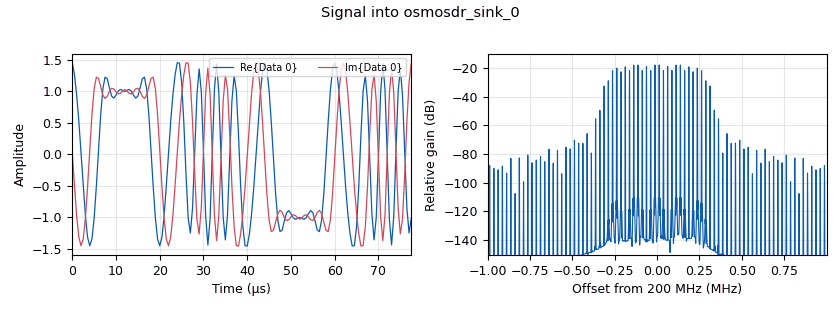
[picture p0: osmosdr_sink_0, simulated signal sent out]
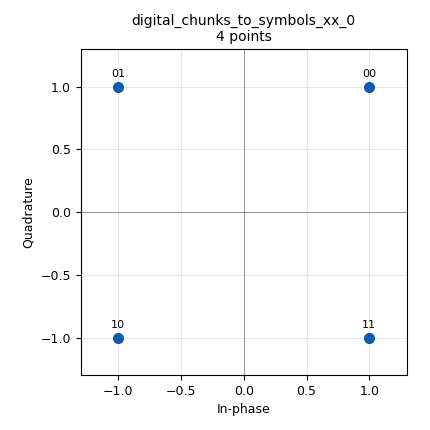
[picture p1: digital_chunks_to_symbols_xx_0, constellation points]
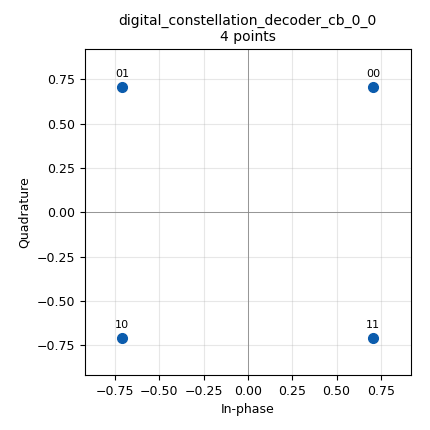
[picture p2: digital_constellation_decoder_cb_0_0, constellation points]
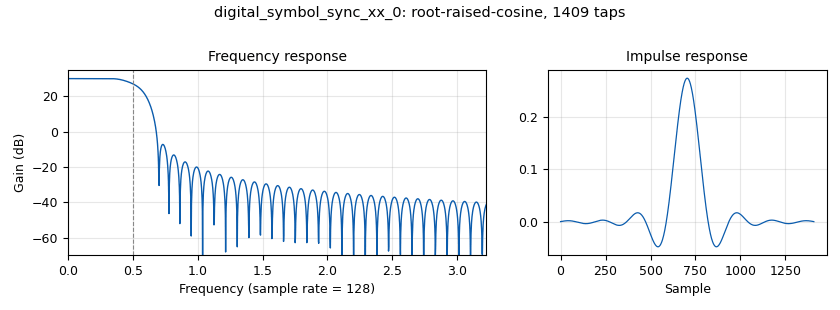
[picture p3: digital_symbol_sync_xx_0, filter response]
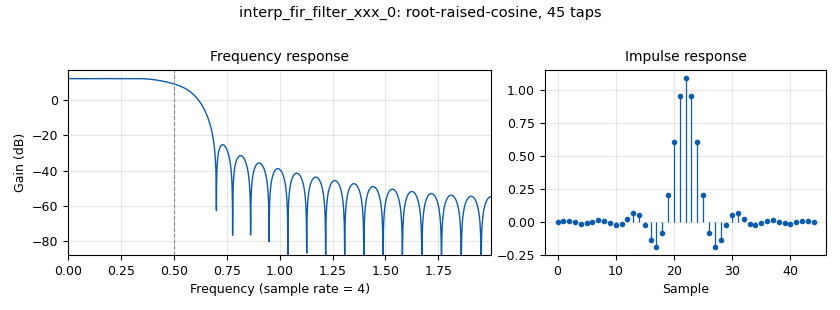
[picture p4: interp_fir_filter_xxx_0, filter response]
<?xml version='1.0' encoding='utf-8'?>
<?grc format='1' created='3.7.13'?>
<flow_graph>
<block>
<key>options</key>
<param><key>id</key><value>psk_hardware</value></param>
<param><key>generate_options</key><value>qt_gui</value></param>
</block>
<block>
<key>variable</key>
<param><key>id</key><value>carrier_freq</value></param>
<param><key>value</key><value>200e6</value></param>
</block>
<block>
<key>variable_qtgui_range</key>
<param><key>id</key><value>damping</value></param>
<param><key>value</key><value>1</value></param>
<param><key>gui_hint</key><value>5,2,1,1</value></param>
<param><key>orient</key><value>Qt.Horizontal</value></param>
<param><key>start</key><value>0</value></param>
<param><key>step</key><value>0.01</value></param>
<param><key>stop</key><value>2</value></param>
</block>
<block>
<key>variable</key>
<param><key>id</key><value>excess_bw</value></param>
<param><key>value</key><value>0.35</value></param>
</block>
<block>
<key>variable_qtgui_range</key>
<param><key>id</key><value>freq_bw</value></param>
<param><key>value</key><value>0.025</value></param>
<param><key>gui_hint</key><value>1,2,1,1</value></param>
<param><key>orient</key><value>Qt.Horizontal</value></param>
<param><key>start</key><value>0</value></param>
<param><key>step</key><value>0.001</value></param>
<param><key>stop</key><value>0.05</value></param>
</block>
<block>
<key>variable_qtgui_range</key>
<param><key>id</key><value>maximum_deviation</value></param>
<param><key>value</key><value>1.5</value></param>
<param><key>gui_hint</key><value>6,2,1,1</value></param>
<param><key>orient</key><value>Qt.Horizontal</value></param>
<param><key>start</key><value>0</value></param>
<param><key>step</key><value>0.01</value></param>
<param><key>stop</key><value>3</value></param>
</block>
<block>
<key>variable</key>
<param><key>id</key><value>nfilts</value></param>
<param><key>value</key><value>32</value></param>
</block>
<block>
<key>variable_qtgui_range</key>
<param><key>id</key><value>phase_bw</value></param>
<param><key>value</key><value>0.05</value></param>
<param><key>gui_hint</key><value>3,2,1,1</value></param>
<param><key>orient</key><value>Qt.Horizontal</value></param>
<param><key>start</key><value>0</value></param>
<param><key>step</key><value>0.001</value></param>
<param><key>stop</key><value>0.1</value></param>
</block>
<block>
<key>variable_constellation</key>
<param><key>id</key><value>qpsk_constellation</value></param>
<param><key>const_points</key><value>symbol_map</value></param>
<param><key>type</key><value>calcdist</value></param>
<param><key>dims</key><value>1</value></param>
<param><key>rot_sym</key><value>4</value></param>
<param><key>precision</key><value>8</value></param>
<param><key>sym_map</key><value>[0, 1, 2, 3]</value></param>
</block>
<block>
<key>variable_rrc_filter_taps</key>
<param><key>id</key><value>rrc_poly_taps</value></param>
<param><key>alpha</key><value>excess_bw</value></param>
<param><key>gain</key><value>nfilts</value></param>
<param><key>ntaps</key><value>11*nfilts*sps</value></param>
<param><key>samp_rate</key><value>sps*nfilts</value></param>
<param><key>sym_rate</key><value>1</value></param>
</block>
<block>
<key>variable_rrc_filter_taps</key>
<param><key>id</key><value>rrc_taps</value></param>
<param><key>alpha</key><value>excess_bw</value></param>
<param><key>gain</key><value>sps</value></param>
<param><key>ntaps</key><value>11*sps</value></param>
<param><key>samp_rate</key><value>sps</value></param>
<param><key>sym_rate</key><value>1</value></param>
</block>
<block>
<key>variable</key>
<param><key>id</key><value>samp_rate</value></param>
<param><key>value</key><value>2000000</value></param>
</block>
<block>
<key>variable</key>
<param><key>id</key><value>sps</value></param>
<param><key>value</key><value>4</value></param>
</block>
<block>
<key>variable</key>
<param><key>id</key><value>symbol_map</value></param>
<param><key>value</key><value>[1+1j,-1+1j,-1-1j,1-1j]</value></param>
</block>
<block>
<key>variable_qtgui_range</key>
<param><key>id</key><value>ted_gain</value></param>
<param><key>value</key><value>1</value></param>
<param><key>gui_hint</key><value>4,2,1,1</value></param>
<param><key>orient</key><value>Qt.Horizontal</value></param>
<param><key>start</key><value>0</value></param>
<param><key>step</key><value>0.01</value></param>
<param><key>stop</key><value>2</value></param>
</block>
<block>
<key>variable_qtgui_range</key>
<param><key>id</key><value>time_bw</value></param>
<param><key>value</key><value>0.05</value></param>
<param><key>gui_hint</key><value>2,2,1,1</value></param>
<param><key>orient</key><value>Qt.Horizontal</value></param>
<param><key>start</key><value>0</value></param>
<param><key>step</key><value>0.001</value></param>
<param><key>stop</key><value>0.1</value></param>
</block>
<block>
<key>analog_agc2_xx</key>
<param><key>id</key><value>analog_agc2_xx_0</value></param>
<param><key>attack_rate</key><value>1e-1</value></param>
<param><key>decay_rate</key><value>1e-2</value></param>
<param><key>gain</key><value>1.0</value></param>
<param><key>max_gain</key><value>65536</value></param>
<param><key>reference</key><value>1.0</value></param>
<param><key>type</key><value>complex</value></param>
</block>
<block>
<key>analog_random_source_x</key>
<param><key>id</key><value>analog_random_source_x_0</value></param>
<param><key>_enabled</key><value>0</value></param>
<param><key>max</key><value>4</value></param>
<param><key>min</key><value>0</value></param>
<param><key>num_samps</key><value>10000</value></param>
<param><key>type</key><value>byte</value></param>
<param><key>repeat</key><value>True</value></param>
</block>
<block>
<key>blocks_uchar_to_float</key>
<param><key>id</key><value>blocks_uchar_to_float_0</value></param>
</block>
<block>
<key>blocks_vector_source_x</key>
<param><key>id</key><value>blocks_vector_source_x_0</value></param>
<param><key>type</key><value>byte</value></param>
<param><key>repeat</key><value>True</value></param>
<param><key>vector</key><value>(0,0,0,0,0,1,1,1,1,1,2,2,2,2,2,3,3,3,3,3)</value></param>
</block>
<block>
<key>digital_chunks_to_symbols_xx</key>
<param><key>id</key><value>digital_chunks_to_symbols_xx_0</value></param>
<param><key>dimension</key><value>1</value></param>
<param><key>in_type</key><value>byte</value></param>
<param><key>out_type</key><value>complex</value></param>
<param><key>symbol_table</key><value>symbol_map</value></param>
</block>
<block>
<key>digital_constellation_decoder_cb</key>
<param><key>id</key><value>digital_constellation_decoder_cb_0_0</value></param>
<param><key>constellation</key><value>qpsk_constellation</value></param>
</block>
<block>
<key>digital_costas_loop_cc</key>
<param><key>id</key><value>digital_costas_loop_cc_0</value></param>
<param><key>w</key><value>phase_bw</value></param>
<param><key>order</key><value>4</value></param>
</block>
<block>
<key>digital_diff_decoder_bb</key>
<param><key>id</key><value>digital_diff_decoder_bb_0</value></param>
<param><key>modulus</key><value>4</value></param>
</block>
<block>
<key>digital_diff_encoder_bb</key>
<param><key>id</key><value>digital_diff_encoder_bb_0</value></param>
<param><key>modulus</key><value>4</value></param>
</block>
<block>
<key>digital_map_bb</key>
<param><key>id</key><value>digital_map_bb_0</value></param>
<param><key>map</key><value>(0,1,2,3)</value></param>
</block>
<block>
<key>digital_symbol_sync_xx</key>
<param><key>id</key><value>digital_symbol_sync_xx_0</value></param>
<param><key>damping</key><value>damping</value></param>
<param><key>ted_gain</key><value>ted_gain</value></param>
<param><key>nfilters</key><value>nfilts</value></param>
<param><key>type</key><value>cc</value></param>
<param><key>resamp_type</key><value>digital.IR_PFB_MF</value></param>
<param><key>loop_bw</key><value>time_bw</value></param>
<param><key>max_dev</key><value>maximum_deviation</value></param>
<param><key>osps</key><value>1</value></param>
<param><key>pfb_mf_taps</key><value>rrc_poly_taps</value></param>
<param><key>sps</key><value>sps</value></param>
<param><key>ted_type</key><value>digital.TED_SIGNAL_TIMES_SLOPE_ML</value></param>
</block>
<block>
<key>interp_fir_filter_xxx</key>
<param><key>id</key><value>interp_fir_filter_xxx_0</value></param>
<param><key>interp</key><value>sps</value></param>
<param><key>taps</key><value>rrc_taps</value></param>
<param><key>type</key><value>ccc</value></param>
</block>
<block>
<key>qtgui_tab_widget</key>
<param><key>id</key><value>notebook</value></param>
<param><key>gui_hint</key><value>1,1,8,1</value></param>
<param><key>label0</key><value>Received Signal</value></param>
<param><key>label1</key><value>Synched Signal</value></param>
<param><key>num_tabs</key><value>2</value></param>
</block>
<block>
<key>osmosdr_sink</key>
<param><key>id</key><value>osmosdr_sink_0</value></param>
<param><key>bb_gain0</key><value>20</value></param>
<param><key>freq0</key><value>carrier_freq</value></param>
<param><key>if_gain0</key><value>10</value></param>
<param><key>gain0</key><value>0</value></param>
<param><key>args</key><value></value></param>
<param><key>type</key><value>fc32</value></param>
<param><key>sample_rate</key><value>samp_rate</value></param>
<param><key>sync</key><value></value></param>
</block>
<block>
<key>osmosdr_source</key>
<param><key>id</key><value>osmosdr_source_0</value></param>
<param><key>bb_gain0</key><value>20</value></param>
<param><key>freq0</key><value>carrier_freq</value></param>
<param><key>gain_mode0</key><value>False</value></param>
<param><key>if_gain0</key><value>20</value></param>
<param><key>gain0</key><value>10</value></param>
<param><key>args</key><value></value></param>
<param><key>type</key><value>fc32</value></param>
<param><key>sample_rate</key><value>samp_rate</value></param>
<param><key>sync</key><value></value></param>
</block>
<block>
<key>qtgui_const_sink_x</key>
<param><key>id</key><value>qtgui_const_sink_x_0</value></param>
<param><key>autoscale</key><value>True</value></param>
<param><key>gui_hint</key><value>notebook@1</value></param>
<param><key>size</key><value>1024</value></param>
<param><key>type</key><value>complex</value></param>
</block>
<block>
<key>qtgui_const_sink_x</key>
<param><key>id</key><value>qtgui_const_sink_x_1</value></param>
<param><key>autoscale</key><value>True</value></param>
<param><key>gui_hint</key><value>notebook@0</value></param>
<param><key>size</key><value>1024</value></param>
<param><key>type</key><value>complex</value></param>
</block>
<block>
<key>qtgui_freq_sink_x</key>
<param><key>id</key><value>qtgui_freq_sink_x_0</value></param>
<param><key>bw</key><value>samp_rate</value></param>
<param><key>fc</key><value>0</value></param>
<param><key>fftsize</key><value>1024</value></param>
<param><key>gui_hint</key><value>notebook@0</value></param>
<param><key>showports</key><value>True</value></param>
<param><key>type</key><value>complex</value></param>
<param><key>wintype</key><value>firdes.WIN_BLACKMAN_hARRIS</value></param>
</block>
<block>
<key>qtgui_time_sink_x</key>
<param><key>id</key><value>qtgui_time_sink_x_0</value></param>
<param><key>gui_hint</key><value>notebook@1</value></param>
<param><key>color1</key><value>"blue"</value></param>
<param><key>label1</key><value>"frequency"</value></param>
<param><key>color2</key><value>"red"</value></param>
<param><key>label2</key><value>"phase"</value></param>
<param><key>color3</key><value>"green"</value></param>
<param><key>label3</key><value>"error"</value></param>
<param><key>nconnections</key><value>3</value></param>
<param><key>size</key><value>1024</value></param>
<param><key>srate</key><value>samp_rate</value></param>
<param><key>type</key><value>float</value></param>
</block>
<block>
<key>qtgui_time_sink_x</key>
<param><key>id</key><value>qtgui_time_sink_x_1</value></param>
<param><key>autoscale</key><value>True</value></param>
<param><key>gui_hint</key><value>notebook@1</value></param>
<param><key>color1</key><value>"blue"</value></param>
<param><key>label1</key><value></value></param>
<param><key>size</key><value>200</value></param>
<param><key>srate</key><value>samp_rate</value></param>
<param><key>type</key><value>float</value></param>
<param><key>ymax</key><value>5</value></param>
</block>
<block>
<key>virtual_sink</key>
<param><key>id</key><value>virtual_sink_1</value></param>
<param><key>stream_id</key><value>rx_data</value></param>
</block>
<block>
<key>virtual_source</key>
<param><key>id</key><value>virtual_source_2</value></param>
<param><key>stream_id</key><value>rx_data</value></param>
</block>
<connection><source_block_id>analog_agc2_xx_0</source_block_id><sink_block_id>digital_costas_loop_cc_0</sink_block_id><source_key>0</source_key><sink_key>0</sink_key></connection>
<connection><source_block_id>analog_random_source_x_0</source_block_id><sink_block_id>digital_diff_encoder_bb_0</sink_block_id><source_key>0</source_key><sink_key>0</sink_key></connection>
<connection><source_block_id>blocks_uchar_to_float_0</source_block_id><sink_block_id>qtgui_time_sink_x_1</sink_block_id><source_key>0</source_key><sink_key>0</sink_key></connection>
<connection><source_block_id>blocks_vector_source_x_0</source_block_id><sink_block_id>digital_diff_encoder_bb_0</sink_block_id><source_key>0</source_key><sink_key>0</sink_key></connection>
<connection><source_block_id>digital_chunks_to_symbols_xx_0</source_block_id><sink_block_id>interp_fir_filter_xxx_0</sink_block_id><source_key>0</source_key><sink_key>0</sink_key></connection>
<connection><source_block_id>digital_constellation_decoder_cb_0_0</source_block_id><sink_block_id>virtual_sink_1</sink_block_id><source_key>0</source_key><sink_key>0</sink_key></connection>
<connection><source_block_id>digital_costas_loop_cc_0</source_block_id><sink_block_id>qtgui_time_sink_x_0</sink_block_id><source_key>3</source_key><sink_key>2</sink_key></connection>
<connection><source_block_id>digital_costas_loop_cc_0</source_block_id><sink_block_id>qtgui_time_sink_x_0</sink_block_id><source_key>1</source_key><sink_key>0</sink_key></connection>
<connection><source_block_id>digital_costas_loop_cc_0</source_block_id><sink_block_id>digital_constellation_decoder_cb_0_0</sink_block_id><source_key>0</source_key><sink_key>0</sink_key></connection>
<connection><source_block_id>digital_costas_loop_cc_0</source_block_id><sink_block_id>qtgui_const_sink_x_0</sink_block_id><source_key>0</source_key><sink_key>0</sink_key></connection>
<connection><source_block_id>digital_costas_loop_cc_0</source_block_id><sink_block_id>qtgui_time_sink_x_0</sink_block_id><source_key>2</source_key><sink_key>1</sink_key></connection>
<connection><source_block_id>digital_diff_decoder_bb_0</source_block_id><sink_block_id>digital_map_bb_0</sink_block_id><source_key>0</source_key><sink_key>0</sink_key></connection>
<connection><source_block_id>digital_diff_encoder_bb_0</source_block_id><sink_block_id>digital_chunks_to_symbols_xx_0</sink_block_id><source_key>0</source_key><sink_key>0</sink_key></connection>
<connection><source_block_id>digital_map_bb_0</source_block_id><sink_block_id>blocks_uchar_to_float_0</sink_block_id><source_key>0</source_key><sink_key>0</sink_key></connection>
<connection><source_block_id>digital_symbol_sync_xx_0</source_block_id><sink_block_id>analog_agc2_xx_0</sink_block_id><source_key>0</source_key><sink_key>0</sink_key></connection>
<connection><source_block_id>interp_fir_filter_xxx_0</source_block_id><sink_block_id>osmosdr_sink_0</sink_block_id><source_key>0</source_key><sink_key>0</sink_key></connection>
<connection><source_block_id>osmosdr_source_0</source_block_id><sink_block_id>digital_symbol_sync_xx_0</sink_block_id><source_key>0</source_key><sink_key>0</sink_key></connection>
<connection><source_block_id>osmosdr_source_0</source_block_id><sink_block_id>qtgui_const_sink_x_1</sink_block_id><source_key>0</source_key><sink_key>0</sink_key></connection>
<connection><source_block_id>osmosdr_source_0</source_block_id><sink_block_id>qtgui_freq_sink_x_0</sink_block_id><source_key>0</source_key><sink_key>0</sink_key></connection>
<connection><source_block_id>virtual_source_2</source_block_id><sink_block_id>digital_diff_decoder_bb_0</sink_block_id><source_key>0</source_key><sink_key>0</sink_key></connection>
</flow_graph>
